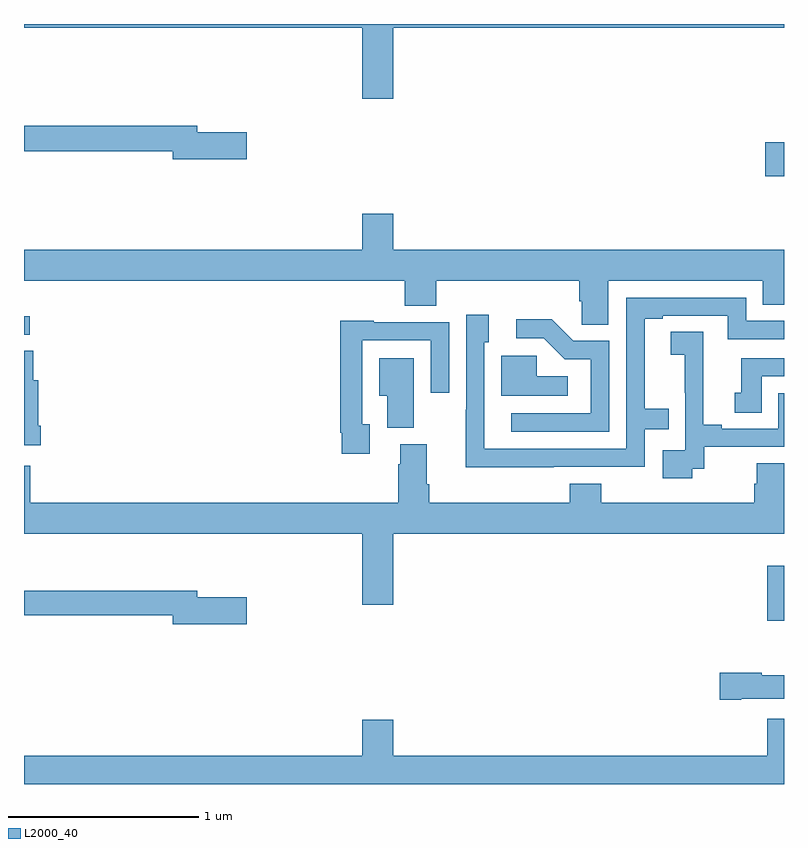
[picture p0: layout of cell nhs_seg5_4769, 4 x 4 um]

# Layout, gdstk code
import gdstk
lib = gdstk.Library(unit=1e-6, precision=1e-09)
def R(c, l, rs):  # rectangles x0, y0, x1, y1
    for r in rs: c.add(gdstk.rectangle(r[:2], r[2:], *l))
def P(c, l, *ps):  # polygons
    for p in ps: c.add(gdstk.Polygon(p, *l))
L2000_40 = (2000, 40)

nhs_seg5_4769 = lib.new_cell('nhs_seg5_4769')
R(nhs_seg5_4769, L2000_40, [(394.913,833.657,395,833.947), (391,835.164,391.03,835.26), (394.902,835.999,395,836.177)])
P(nhs_seg5_4769, L2000_40, [(392.944,836.78),(395,836.78),(395,836.799),(391,836.799),(391,836.78),(392.78,836.78),(392.78,836.406),(392.944,836.406)],
  [(392.173,836.228),(391.912,836.228),(391.912,836.264),(391,836.264),(391,836.128),(391.784,836.128),(391.784,836.086),(392.173,836.086)],
  [(394.075,835.448),(394.889,835.448),(394.889,835.321),(395,835.321),(395,835.612),(392.944,835.612),(392.944,835.801),(392.78,835.801),(392.78,835.612),(391,835.612),(391,835.448),(393.005,835.448),(393.005,835.315),(393.17,835.315),(393.17,835.448),(393.923,835.448),(393.923,835.339),(393.936,835.339),(393.936,835.216),(394.075,835.216)],
  [(393.788,834.468),(394.266,834.468),(394.266,834.666),(394.394,834.666),(394.394,834.775),(394.267,834.775),(394.267,835.248),(394.363,835.248),(394.363,835.263),(394.704,835.263),(394.704,835.14),(395,835.14),(395,835.236),(394.8,835.236),(394.8,835.359),(394.17,835.359),(394.17,834.564),(393.423,834.564),(393.423,835.125),(393.445,835.125),(393.445,835.27),(393.327,835.27),(393.327,834.77),(393.326,834.77),(393.326,834.467),(393.788,834.467)],
  [(394.08,835.131),(393.891,835.131),(393.778,835.244),(393.591,835.244),(393.591,835.146),(393.735,835.146),(393.846,835.035),(393.984,835.035),(393.984,834.75),(393.564,834.75),(393.564,834.654),(394.08,834.654)],
  [(392.821,834.693),(392.781,834.693),(392.781,835.134),(393.141,835.134),(393.141,834.858),(393.237,834.858),(393.237,835.23),(392.841,835.23),(392.841,835.237),(392.665,835.237),(392.665,834.649),(392.673,834.649),(392.673,834.537),(392.821,834.537)],
  [(394.518,834.459),(394.58,834.459),(394.58,834.573),(395,834.573),(395,834.855),(394.971,834.855),(394.971,834.669),(394.672,834.669),(394.672,834.689),(394.576,834.689),(394.576,835.067),(394.574,835.067),(394.574,835.178),(394.404,835.178),(394.404,835.057),(394.478,835.057),(394.478,834.859),(394.479,834.859),(394.479,834.555),(394.362,834.555),(394.362,834.408),(394.518,834.408)],
  [(391.088,834.685),(391.075,834.685),(391.075,834.925),(391.049,834.925),(391.049,835.079),(391,835.079),(391,834.581),(391.088,834.581)],
  [(393.862,834.946),(393.699,834.946),(393.699,835.053),(393.512,835.053),(393.512,834.842),(393.862,834.842)],
  [(394.882,834.945),(395,834.945),(395,835.041),(394.775,835.041),(394.775,834.858),(394.742,834.858),(394.742,834.754),(394.882,834.754)],
  [(393.052,835.039),(392.87,835.039),(392.87,834.842),(392.912,834.842),(392.912,834.673),(393.052,834.673)],
  [(392.944,834.116),(395,834.116),(395,834.488),(394.856,834.488),(394.856,834.378),(394.844,834.378),(394.844,834.28),(394.037,834.28),(394.037,834.379),(393.872,834.379),(393.872,834.28),(393.134,834.28),(393.134,834.376),(393.121,834.376),(393.121,834.588),(392.981,834.588),(392.981,834.482),(392.969,834.482),(392.969,834.28),(391.034,834.28),(391.034,834.475),(391,834.475),(391,834.116),(392.78,834.116),(392.78,833.742),(392.944,833.742)],
  [(392.173,833.781),(391.912,833.781),(391.912,833.815),(391,833.815),(391,833.686),(391.784,833.686),(391.784,833.639),(392.173,833.639)],
  [(394.774,833.249),(395,833.249),(395,833.371),(394.884,833.371),(394.884,833.384),(394.662,833.384),(394.662,833.242),(394.774,833.242)],
  [(395,833.143),(394.913,833.143),(394.913,832.948),(392.944,832.948),(392.944,833.137),(392.78,833.137),(392.78,832.948),(391,832.948),(391,832.799),(395,832.799)])

lib.write_gds('nhs_seg5_4769.gds')
